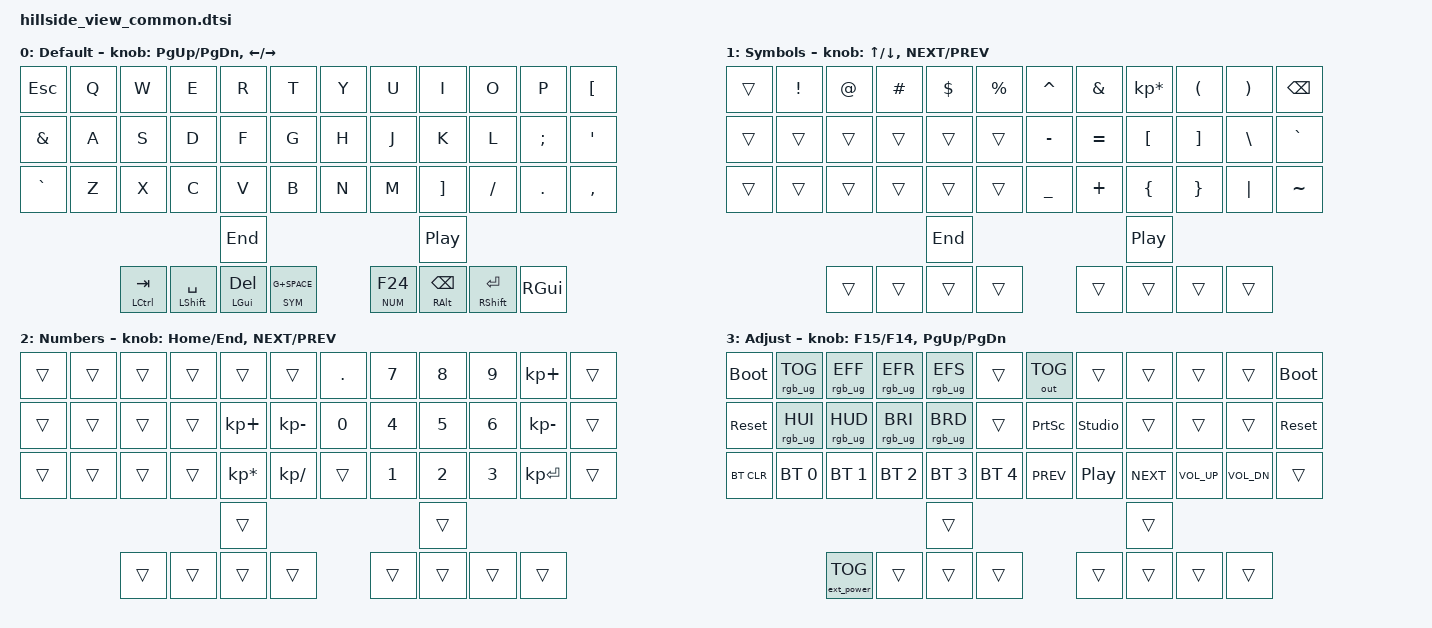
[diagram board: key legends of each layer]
#include <behaviors/studio_unlock.dtsi>
#include <behaviors.dtsi>
#include <dt-bindings/zmk/bt.h>
#include <dt-bindings/zmk/ext_power.h>
#include <dt-bindings/zmk/keys.h>
#include <dt-bindings/zmk/outputs.h>
#include <dt-bindings/zmk/rgb.h>

#define DEF 0     /* Индекс слоя Default (базовый) */
#define SYM 1     /* Индекс слоя Symbols (символы) */
#define NUM 2     /* Индекс слоя Numbers (цифры + F1-F10) */
#define ADJ 3     /* Индекс слоя Adjust (настройки, BT, bootloader) */
#define QUICK_TAP_MS 175   /* Порог (мс) для «быстрого» двойного тапа в hold-tap */
#define TAPPING_TERM_MS 150 /* Макс. время (мс) удержания, после которого считается hold, а не tap */

&sk {                           /* Глобальная настройка Sticky Key (липкая клавиша) */
    release-after-ms = <600>;   /* Липкая клавиша автоматически отпускается через 600 мс */
    quick-release;              /* Если нажата любая другая клавиша — липкая отпускается сразу */
};

/ {                                                     /* Корневой узел device tree */
    conditional_layers {                                /* Условные слои: автоактивация слоёв */
        compatible = "zmk,conditional-layers";

        tri_layer {                                     /* Правило: если SYM или NUM → включить ADJ */
            if-layers = <SYM NUM>;                      /* Если активен слой 1 (SYM) или 2 (NUM) */
            then-layer = <ADJ>;                         /* То также активировать слой 3 (ADJ) */
        };                                              /* ADJ «накладывается» поверх SYM/NUM */
    };

    combos {                                            /* Комбо: одновременное нажатие = действие */
        compatible = "zmk,combos";

        caps {
            timeout-ms = <50>;                          /* Клавиши комбо нужно нажать в течение 50 мс */
            key-positions = <17 18>;                    /* Позиции клавиш #17 и #18 (G и H) */
            bindings = <&caps_word>;                    /* Действие: Caps Word (авто-Caps на слово) */
        };
    };

    behaviors {                                         /* Пользовательские поведения */
        lq: layer_toggle_quick {                        /* lq — алиас для быстрой смены слоя */
            compatible = "zmk,behavior-hold-tap";       /* Тип: hold-tap (разное действие при tap/hold) */
            label = "Layer Toggle Quick";               /* Имя в отладке/Studio */
            #binding-cells = <2>;                       /* Принимает 2 параметра: <hold_action tap_action> */
            flavor = "tap-preferred";                   /* При неоднозначности — считаем tap */
            tapping-term-ms = <TAPPING_TERM_MS>;        /* 150 мс на решение tap vs hold */
            quick-tap-ms = <QUICK_TAP_MS>;              /* 175 мс для быстрого двойного тапа */
            bindings = <&mo>, <&kp>;                    /* hold = &mo (моментарный слой), tap = &kp (нажатие) */
        };

        ht: hold_tap {                                  /* ht — стандартный hold-tap */
            compatible = "zmk,behavior-hold-tap";
            label = "Hold Tap";
            #binding-cells = <2>;                       /* 2 параметра: <hold_key tap_key> */
            flavor = "tap-preferred";                   /* Приоритет tap */
            tapping-term-ms = <200>;                    /* 200 мс на решение */
            quick-tap-ms = <175>;
            bindings = <&kp>, <&kp>;                    /* hold = ключ, tap = ключ (оба Key Press) */
        };

        htb: hold_tap_balanced {                        /* htb — сбалансированный hold-tap */
            compatible = "zmk,behavior-hold-tap";
            label = "Hold Tap Balanced";
            #binding-cells = <2>;
            flavor = "balanced";                        /* Равный баланс tap/hold (не偏向 ни к чему) */
            tapping-term-ms = <200>;
            quick-tap-ms = <175>;
            bindings = <&kp>, <&kp>;
        };
    };


    keymap {
        compatible = "zmk,keymap";

        default_layer {
            display-name = "Default";
            bindings = <
    &kp ESC        &kp Q        &kp W        &kp E        &kp R           &kp T           &kp Y       &kp U           &kp I        &kp O        &kp P        &kp LBKT
    &kp AMPS       &kp A        &kp S        &kp D        &kp F           &kp G           &kp H       &kp J           &kp K        &kp L        &kp SEMI     &kp SQT
    &kp GRAVE      &kp Z        &kp X        &kp C        &kp V           &kp B           &kp N       &kp M           &kp RBKT     &kp FSLH     &kp DOT      &kp COMMA 
                                                           &kp END                                                      &kp C_PP
                                 &ht LCTRL TAB &ht LSHFT SPACE &ht LGUI DEL &lq SYM G+SPACE      &lq NUM F24 &ht RALT BSPC &ht RSHFT RET &kp RGUI
            >;

            sensor-bindings = <&inc_dec_kp PG_UP PG_DN &inc_dec_kp  LEFT RIGHT>;
        };


        sym_layer {
            display-name = "Symbols";
            bindings = <
    &trans   &kp EXCL   &kp AT     &kp HASH   &kp DLLR   &kp PRCNT       &kp CARET   &kp AMPS   &kp KP_MULTIPLY    &kp LPAR   &kp RPAR   &kp BSPC
    &trans   &trans     &trans     &trans     &trans     &trans          &kp MINUS   &kp EQUAL  &kp LBKT           &kp RBKT   &kp BSLH   &kp GRAVE
    &trans   &trans     &trans     &trans     &trans     &trans          &kp UNDER   &kp PLUS   &kp LBRC           &kp RBRC   &kp PIPE   &kp TILDE
                                                         &kp END         &kp C_PP
                        &trans     &trans     &trans     &trans          &trans     &trans             &trans     &trans
            >;

            sensor-bindings = <&inc_dec_kp UP DOWN &inc_dec_kp C_NEXT C_PREV>;
        };

        num_layer {
            display-name = "Numbers";
            bindings = <
                &trans   &trans    &trans    &trans     &trans              &trans              &kp DOT   &kp N7      &kp N8   &kp N9    &kp KP_PLUS &trans
                &trans   &trans    &trans    &trans     &kp KP_PLUS         &kp KP_MINUS        &kp N0   &kp N4      &kp N5   &kp N6    &kp KP_MINUS &trans
                &trans   &trans    &trans    &trans     &kp KP_MULTIPLY     &kp KP_DIVIDE       &trans   &kp N1      &kp N2   &kp N3    &kp KP_ENTER &trans
                                                                            &trans              &trans
                                      &trans       &trans       &trans      &trans              &trans     &trans     &trans      &trans
            >;

            sensor-bindings = <&inc_dec_kp HOME END &inc_dec_kp C_NEXT C_PREV>;
        };

        adj_layer {
            display-name = "Adjust";
            bindings = <
                &bootloader   &rgb_ug TOG   &rgb_ug EFF   &rgb_ug EFR   &rgb_ug EFS   &trans             &out OUT_TOG    &trans            &trans     &trans     &trans     &bootloader
                &sys_reset    &rgb_ug HUI   &rgb_ug HUD   &rgb_ug BRI   &rgb_ug BRD   &trans             &kp PRINTSCREEN &studio_unlock    &trans     &trans     &trans     &sys_reset
                &bt BT_CLR    &bt BT_SEL 0  &bt BT_SEL 1  &bt BT_SEL 2  &bt BT_SEL 3  &bt BT_SEL 4       &kp C_PREV      &kp C_PP          &kp C_NEXT &kp C_VOL_UP &kp C_VOL_DN &trans
                                                                 &trans                                  &trans
                                  &ext_power EP_TOG &trans      &trans         &trans                    &trans   &trans     &trans         &trans
            >;

            // F15 and F14 are brightness controls for macOS
            sensor-bindings = <&inc_dec_kp F15 F14 &inc_dec_kp PG_UP PG_DN>;
        };
    };
};
